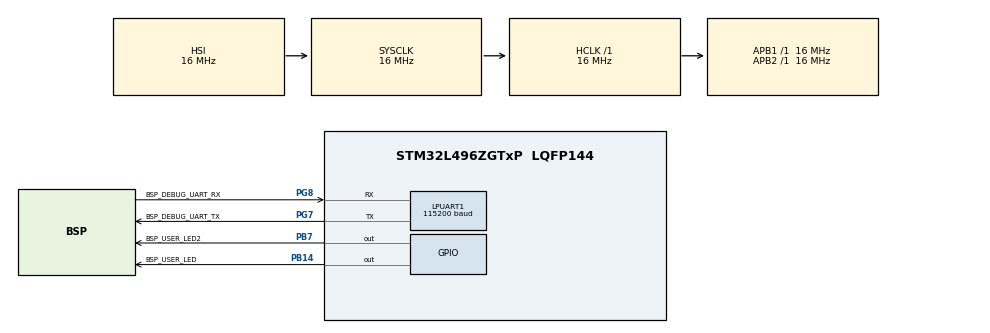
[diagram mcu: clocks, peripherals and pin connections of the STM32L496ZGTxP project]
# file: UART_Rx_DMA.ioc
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Dma.LPUART_RX.0.Direction=DMA_PERIPH_TO_MEMORY
Dma.LPUART_RX.0.Instance=DMA2_Channel7
Dma.LPUART_RX.0.MemDataAlignment=DMA_MDATAALIGN_BYTE
Dma.LPUART_RX.0.MemInc=DMA_MINC_ENABLE
Dma.LPUART_RX.0.Mode=DMA_CIRCULAR
Dma.LPUART_RX.0.PeriphDataAlignment=DMA_PDATAALIGN_BYTE
Dma.LPUART_RX.0.PeriphInc=DMA_PINC_DISABLE
Dma.LPUART_RX.0.Priority=DMA_PRIORITY_LOW
Dma.Request0=LPUART_RX
LPUART1.BaudRate=115200
LPUART1.WordLength=UART_WORDLENGTH_8B
Mcu.Family=STM32L4
Mcu.Name=STM32L496ZGTxP
Mcu.Package=LQFP144
NVIC.DMA2_Channel7_IRQn=true\:0\:0\:false\:false\:true\:false\:true\:true
NVIC.PriorityGroup=NVIC_PRIORITYGROUP_4
PB14.GPIO_Label=BSP_USER_LED
PB14.Signal=GPIO_Output
PB7.GPIO_Label=BSP_USER_LED2
PB7.Signal=GPIO_Output
PG7.GPIO_Label=BSP_DEBUG_UART_TX
PG7.Mode=Asynchronous
PG7.Signal=LPUART1_TX
PG8.GPIO_Label=BSP_DEBUG_UART_RX
PG8.Mode=Asynchronous
PG8.Signal=LPUART1_RX
ProjectManager.HeapSize=0x200
ProjectManager.StackSize=0x400
ProjectManager.TargetToolchain=STM32CubeIDE
RCC.48MHZClocksFreq_Value=24000000
RCC.AHBFreq_Value=16000000
RCC.APB1Freq_Value=16000000
RCC.APB1TimFreq_Value=16000000
RCC.APB2Freq_Value=16000000
RCC.APB2TimFreq_Value=16000000
RCC.CortexFreq_Value=16000000
RCC.HCLKFreq_Value=16000000
RCC.HSE_VALUE=8000000
RCC.HSI48_VALUE=48000000
RCC.HSI_VALUE=16000000
RCC.LSE_VALUE=32768
RCC.MSI_VALUE=4000000
RCC.PLLMUL=RCC_PLL_MUL9
RCC.PRESCALERUSB=RCC_USBCLKSOURCE_PLL_DIV1_5
RCC.SYSCLKFreq_VALUE=16000000
RCC.SYSCLKSource=RCC_SYSCLKSOURCE_HSI
RCC.SYSCLKSourceVirtual=RCC_SYSCLKSOURCE_PLLCLK
RCC.USBFreq_Value=16000000
RCC.VCOOutputFreq_Value=32000000
board=NUCLEO-L496ZG-P

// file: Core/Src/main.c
/* USER CODE BEGIN Header */
/**
  ******************************************************************************
  * @file           : main.c
  * @brief          : Main program body
  ******************************************************************************
  * @attention
  *
  * Copyright (c) 2024 STMicroelectronics.
  * All rights reserved.
  *
  * This software is licensed under terms that can be found in the LICENSE file
  * in the root directory of this software component.
  * If no LICENSE file comes with this software, it is provided AS-IS.
  *
  ******************************************************************************
  */
/* USER CODE END Header */
#include "main.h"
#include <stdio.h>
#include <string.h>

/* USER CODE BEGIN PM */
#define RETURN_CHAR  '\r'	//macro for return carriage
#define NEWLINE_CHAR '\n'	//macro for newline character
#define MAX_SIZE     10		//macro for maximum size
/* USER CODE END PM */

UART_HandleTypeDef hlpuart1;
DMA_HandleTypeDef hdma_lpuart_rx;

/* USER CODE BEGIN PV */
uint8_t rx_data[MAX_SIZE];		//rx buffer
uint8_t new_buffer[MAX_SIZE];	//buffer to print data on terminal
uint8_t Index = 0;				//index for the buffer
/* USER CODE END PV */

void SystemClock_Config(void);
static void MX_GPIO_Init(void);
static void MX_DMA_Init(void);
static void MX_LPUART1_UART_Init(void);
/* USER CODE BEGIN PFP */
void HAL_UART_RxCpltCallback(UART_HandleTypeDef *huart);
void HAL_UART_RxHalfCpltCallback(UART_HandleTypeDef *huart);
/* USER CODE END PFP */

int main(void)
{

  /* MCU Configuration--------------------------------------------------------*/

  /* Reset of all peripherals, Initializes the Flash interface and the Systick. */
  HAL_Init();

  /* Configure the system clock */
  SystemClock_Config();

  /* Initialize all configured peripherals */
  MX_GPIO_Init();
  MX_DMA_Init();
  MX_LPUART1_UART_Init();
  /* USER CODE BEGIN 2 */

  /* call the function to receive data in dma mode */
  HAL_UART_Receive_DMA(&hlpuart1, rx_data, 1);

  /* USER CODE END 2 */

  /* Infinite loop */
  while (1)
  {

    /* USER CODE BEGIN 3 */

	  /*continuous operation*/
	  HAL_GPIO_TogglePin(BSP_USER_LED_GPIO_Port, BSP_USER_LED_Pin);
	  HAL_Delay(250);
  }
  /* USER CODE END 3 */
}

void SystemClock_Config(void)
{
  RCC_OscInitTypeDef RCC_OscInitStruct = {0};
  RCC_ClkInitTypeDef RCC_ClkInitStruct = {0};

  /** Configure the main internal regulator output voltage
  */
  if (HAL_PWREx_ControlVoltageScaling(PWR_REGULATOR_VOLTAGE_SCALE1) != HAL_OK)
  {
    Error_Handler();
  }

  /** Initializes the RCC Oscillators according to the specified parameters
  * in the RCC_OscInitTypeDef structure.
  */
  RCC_OscInitStruct.OscillatorType = RCC_OSCILLATORTYPE_HSI;
  RCC_OscInitStruct.HSIState = RCC_HSI_ON;
  RCC_OscInitStruct.HSICalibrationValue = RCC_HSICALIBRATION_DEFAULT;
  RCC_OscInitStruct.PLL.PLLState = RCC_PLL_NONE;
  if (HAL_RCC_OscConfig(&RCC_OscInitStruct) != HAL_OK)
  {
    Error_Handler();
  }

  /** Initializes the CPU, AHB and APB buses clocks
  */
  RCC_ClkInitStruct.ClockType = RCC_CLOCKTYPE_HCLK|RCC_CLOCKTYPE_SYSCLK
                              |RCC_CLOCKTYPE_PCLK1|RCC_CLOCKTYPE_PCLK2;
  RCC_ClkInitStruct.SYSCLKSource = RCC_SYSCLKSOURCE_HSI;
  RCC_ClkInitStruct.AHBCLKDivider = RCC_SYSCLK_DIV1;
  RCC_ClkInitStruct.APB1CLKDivider = RCC_HCLK_DIV1;
  RCC_ClkInitStruct.APB2CLKDivider = RCC_HCLK_DIV1;

  if (HAL_RCC_ClockConfig(&RCC_ClkInitStruct, FLASH_LATENCY_0) != HAL_OK)
  {
    Error_Handler();
  }
}

static void MX_LPUART1_UART_Init(void)
{

  hlpuart1.Instance = LPUART1;
  hlpuart1.Init.BaudRate = 115200;
  hlpuart1.Init.WordLength = UART_WORDLENGTH_8B;
  hlpuart1.Init.StopBits = UART_STOPBITS_1;
  hlpuart1.Init.Parity = UART_PARITY_NONE;
  hlpuart1.Init.Mode = UART_MODE_TX_RX;
  hlpuart1.Init.HwFlowCtl = UART_HWCONTROL_NONE;
  hlpuart1.Init.OneBitSampling = UART_ONE_BIT_SAMPLE_DISABLE;
  hlpuart1.AdvancedInit.AdvFeatureInit = UART_ADVFEATURE_NO_INIT;
  if (HAL_UART_Init(&hlpuart1) != HAL_OK)
  {
    Error_Handler();
  }

}

static void MX_DMA_Init(void)
{

  /* DMA controller clock enable */
  __HAL_RCC_DMA2_CLK_ENABLE();

  /* DMA interrupt init */
  /* DMA2_Channel7_IRQn interrupt configuration */
  HAL_NVIC_SetPriority(DMA2_Channel7_IRQn, 0, 0);
  HAL_NVIC_EnableIRQ(DMA2_Channel7_IRQn);

}

static void MX_GPIO_Init(void)
{
  GPIO_InitTypeDef GPIO_InitStruct = {0};

  /* GPIO Ports Clock Enable */
  __HAL_RCC_GPIOB_CLK_ENABLE();
  __HAL_RCC_GPIOG_CLK_ENABLE();
  HAL_PWREx_EnableVddIO2();

  /*Configure GPIO pin Output Level */
  HAL_GPIO_WritePin(GPIOB, BSP_USER_LED_Pin|BSP_USER_LED2_Pin, GPIO_PIN_RESET);

  /*Configure GPIO pins : BSP_USER_LED_Pin BSP_USER_LED2_Pin */
  GPIO_InitStruct.Pin = BSP_USER_LED_Pin|BSP_USER_LED2_Pin;
  GPIO_InitStruct.Mode = GPIO_MODE_OUTPUT_PP;
  GPIO_InitStruct.Pull = GPIO_NOPULL;
  GPIO_InitStruct.Speed = GPIO_SPEED_FREQ_LOW;
  HAL_GPIO_Init(GPIOB, &GPIO_InitStruct);

}

/* USER CODE BEGIN 4 */
void HAL_UART_RxHalfCpltCallback(UART_HandleTypeDef *huart)
{
	/* toggle the pin after reception of half data */
	HAL_GPIO_TogglePin(BSP_USER_LED2_GPIO_Port, BSP_USER_LED2_Pin);
}

void HAL_UART_RxCpltCallback(UART_HandleTypeDef *huart)
{
	/* start the reception of data in dma mode again */
	HAL_UART_Receive_DMA(&hlpuart1, rx_data, 1);
	if (rx_data[0] != RETURN_CHAR && rx_data[0] != NEWLINE_CHAR) {
		new_buffer[Index] = rx_data[0];
		Index++;
	}
	/* print the buffer if rx_buffer encounters a newline character */
	else if (rx_data[0] == NEWLINE_CHAR) {
		printf("%s\r\n", new_buffer);	//print the data on the terminal

		/* Clear the buffer */
		memset(new_buffer, 0, MAX_SIZE);
		Index = 0;
	}
//	HAL_UART_Transmit(&hlpuart1, rx_data, 1, 1000);
}
/* USER CODE END 4 */

void Error_Handler(void)
{
  __disable_irq();
  while (1)
  {
  }
}
